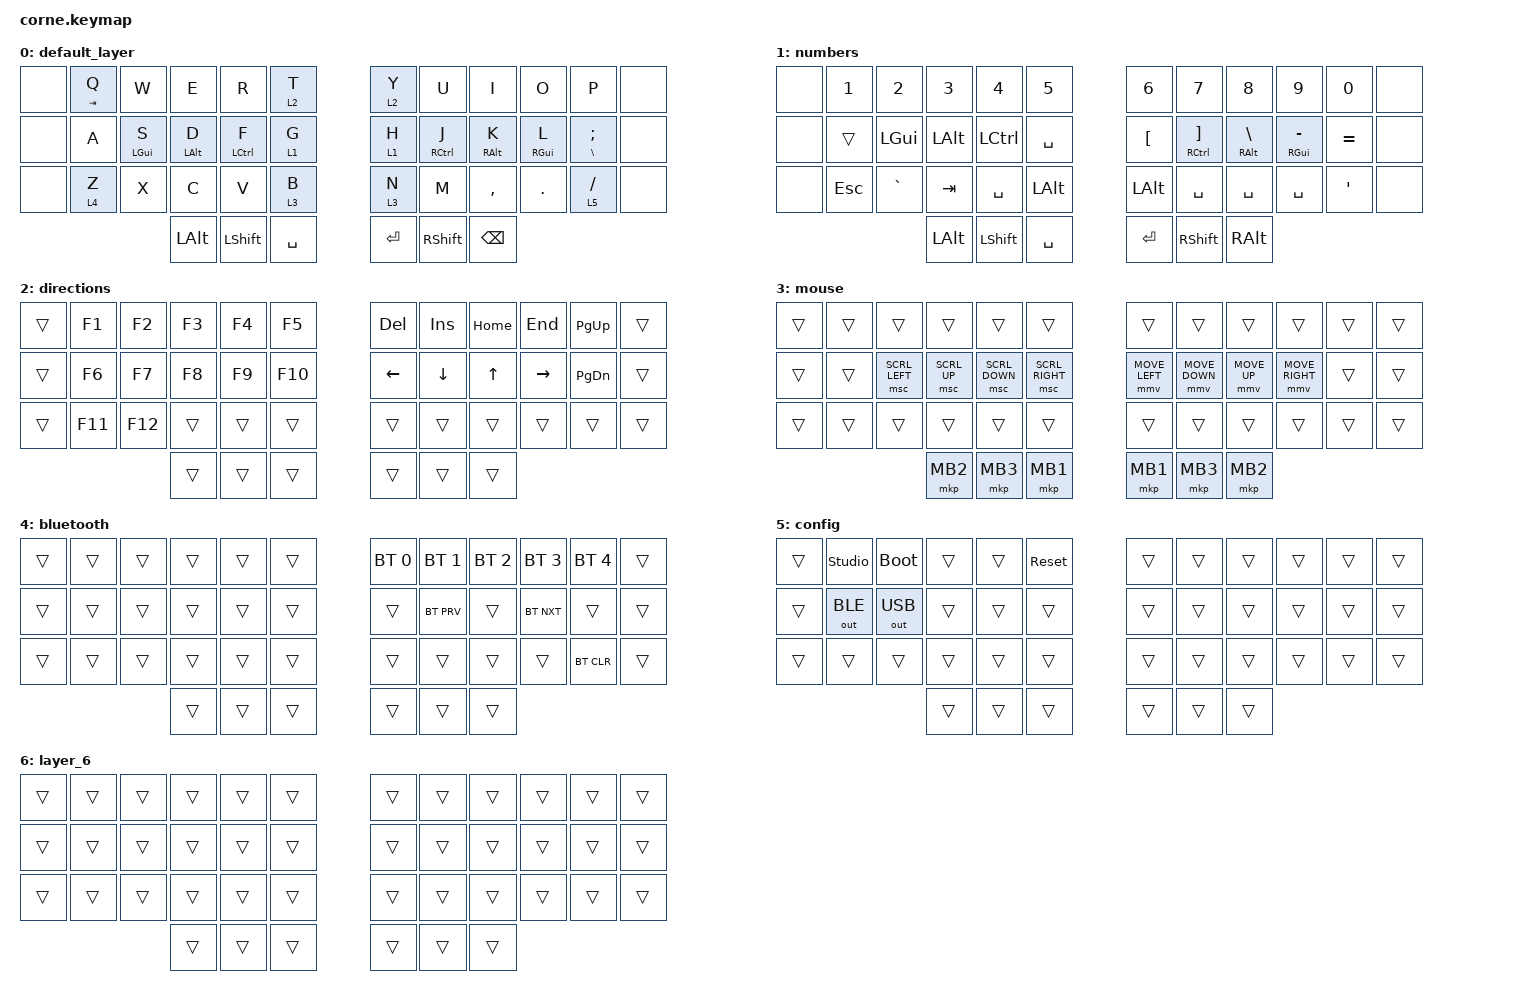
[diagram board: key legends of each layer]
/*
 * Copyright (c) 2020 The ZMK Contributors
 *
 * SPDX-License-Identifier: MIT
 */

#include <dt-bindings/zmk/behaviors.h>
#include <behaviors.dtsi>
#include <dt-bindings/zmk/bt.h>
#include <dt-bindings/zmk/keys.h>
#include <dt-bindings/zmk/outputs.h>
#include <dt-bindings/zmk/pointing.h>

/ {
    behaviors {
        mt: mod_tap {
            compatible = "zmk,behavior-hold-tap";
            display-name = "Mod-Tap";
            #binding-cells = <2>;
            flavor = "balanced";
            tapping-term-ms = <400>;
            bindings = <&kp>, <&kp>;

            quick-tap-ms = <300>;
        };

        lt: layer_tap {
            compatible = "zmk,behavior-hold-tap";
            display-name = "Layer-Tap";
            flavor = "balanced";
            tapping-term-ms = <400>;
            bindings = <&mo>, <&kp>;

            quick-tap-ms = <300>;
        };
    };

    keymap {
        compatible = "zmk,keymap";

        default_layer {
            // -----------------------------------------------------------------------------------------
            // |  TAB |  Q  |  W  |  E  |  R  |  T  |   |  Y  |  U   |  I  |  O  |  P  | BSPC |
            // | CTRL |  A  |  S  |  D  |  F  |  G  |   |  H  |  J   |  K  |  L  |  ;  |  '   |
            // | SHFT |  Z  |  X  |  C  |  V  |  B  |   |  N  |  M   |  ,  |  .  |  /  | ESC  |
            //                    | GUI | LWR | SPC |   | ENT | RSE  | ALT |

            bindings = <
&none  &mt TAB Q  &kp W       &kp E         &kp R           &lt 2 T      &lt 2 Y  &kp U            &kp I          &kp O       &kp P               &none
&none  &kp A      &mt LGUI S  &mt LALT D    &mt LCTRL F     &lt 1 G      &lt 1 H  &mt RCTRL J      &mt RALT K     &mt RGUI L  &mt BACKSLASH SEMI  &none
&none  &lt 4 Z    &kp X       &kp C         &kp V           &lt 3 B      &lt 3 N  &kp M            &kp COMMA      &kp DOT     &lt 5 SLASH         &none
                              &kp LEFT_ALT  &kp LEFT_SHIFT  &kp SPACE    &kp RET  &kp RIGHT_SHIFT  &kp BACKSPACE
            >;
        };

        numbers {
            bindings = <
&none  &kp N1      &kp N2     &kp N3    &kp N4     &kp N5          &kp N6            &kp N7                   &kp N8              &kp N9          &kp N0     &none
&none  &trans      &kp LGUI   &kp LALT  &kp LCTRL  &kp SPACE       &kp LEFT_BRACKET  &mt RCTRL RIGHT_BRACKET  &mt RALT BACKSLASH  &mt RGUI MINUS  &kp EQUAL  &none
&none  &kp ESCAPE  &kp GRAVE  &kp TAB   &kp SPACE  &kp LEFT_ALT    &kp LEFT_ALT      &kp SPACE                &kp SPACE           &kp SPACE       &kp SQT    &none
                              &kp LALT  &kp LSHFT  &kp SPACE       &kp RET           &kp RSHIFT               &kp RALT
            >;
        };

        directions {
            bindings = <
&trans  &kp F1   &kp F2   &kp F3  &kp F4  &kp F5     &kp DEL   &kp INS   &kp HOME  &kp END    &kp PG_UP  &trans
&trans  &kp F6   &kp F7   &kp F8  &kp F9  &kp F10    &kp LEFT  &kp DOWN  &kp UP    &kp RIGHT  &kp PG_DN  &trans
&trans  &kp F11  &kp F12  &trans  &trans  &trans     &trans    &trans    &trans    &trans     &trans     &trans
                          &trans  &trans  &trans     &trans    &trans    &trans
            >;
        };

        mouse {
            bindings = <
&trans  &trans  &trans          &trans        &trans          &trans             &trans          &trans          &trans        &trans           &trans  &trans
&trans  &trans  &msc SCRL_LEFT  &msc SCRL_UP  &msc SCRL_DOWN  &msc SCRL_RIGHT    &mmv MOVE_LEFT  &mmv MOVE_DOWN  &mmv MOVE_UP  &mmv MOVE_RIGHT  &trans  &trans
&trans  &trans  &trans          &trans        &trans          &trans             &trans          &trans          &trans        &trans           &trans  &trans
                                &mkp MB2      &mkp MB3        &mkp MB1           &mkp MB1        &mkp MB3        &mkp MB2
            >;
        };

        bluetooth {
            bindings = <
&trans  &trans  &trans  &trans  &trans  &trans    &bt BT_SEL 0  &bt BT_SEL 1  &bt BT_SEL 2  &bt BT_SEL 3  &bt BT_SEL 4  &trans
&trans  &trans  &trans  &trans  &trans  &trans    &trans        &bt BT_PRV    &trans        &bt BT_NXT    &trans        &trans
&trans  &trans  &trans  &trans  &trans  &trans    &trans        &trans        &trans        &trans        &bt BT_CLR    &trans
                        &trans  &trans  &trans    &trans        &trans        &trans
            >;
        };

        config {
            bindings = <
&trans  &studio_unlock  &bootloader   &trans  &trans  &sys_reset    &trans  &trans  &trans  &trans  &trans  &trans
&trans  &out OUT_BLE    &out OUT_USB  &trans  &trans  &trans        &trans  &trans  &trans  &trans  &trans  &trans
&trans  &trans          &trans        &trans  &trans  &trans        &trans  &trans  &trans  &trans  &trans  &trans
                                      &trans  &trans  &trans        &trans  &trans  &trans
            >;
        };

        layer_6 {
            bindings = <
&trans  &trans  &trans  &trans  &trans  &trans    &trans  &trans  &trans  &trans  &trans  &trans
&trans  &trans  &trans  &trans  &trans  &trans    &trans  &trans  &trans  &trans  &trans  &trans
&trans  &trans  &trans  &trans  &trans  &trans    &trans  &trans  &trans  &trans  &trans  &trans
                        &trans  &trans  &trans    &trans  &trans  &trans
            >;
        };
    };
};
